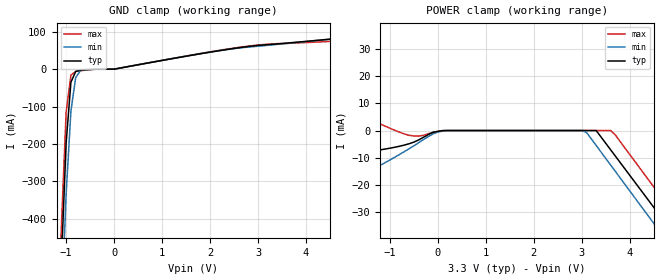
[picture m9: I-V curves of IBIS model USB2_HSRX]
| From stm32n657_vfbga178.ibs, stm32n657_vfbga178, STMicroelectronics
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[Model] USB2_HSRX
Model_type   Input
Polarity   Non-Inverting
Enable   Active-High
C_comp   5.492pF   5.368pF   5.494pF
Vinh = 150.000mV
Vinl = -150.000mV
[Model Spec]
[Receiver Thresholds]
Vcross_low = 0
Vcross_high = 500mv
Vdiff_ac = 150mv
Vdiff_dc = 100mv
Tdiffslew_ac = 1200ps
[Temperature Range]   25.000   125.000   -40.000
[Voltage Range]   3.300V   3.070V   3.630V
[GND Clamp Reference]   0.00V   0.00V   0.00V
[POWER Clamp Reference]   3.300V   3.070V   3.630V
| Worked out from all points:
|   GND clamp passes 1 mA (typ) near -0.53 V on its own axis
|   POWER clamp passes 1 mA (typ) near -0.14 V on its own axis
[GND Clamp]
-3.3V     -10.95A    -10.55A    -11.25A
-1.2V     -915.3mA   -1.032A    -838.8mA
-1.1V     -519.2mA   -657.5mA   -425.7mA
-1V       -197.7mA   -335.1mA   -115.1mA
-900mV    -35.05mA   -112.2mA   -15.67mA
-800mV    -5.949mA   -22.12mA   -6.454mA
-700mV    -2.647mA   -3.891mA   -4.243mA
-600mV    -1.536mA   -1.033mA   -2.639mA
1.971fV   0A         0A         0A
2V        45.55mA    45.52mA    46.3mA
3V        63.49mA    61.26mA    64.65mA
6.6V      104.1mA    107.2mA    86.72mA
[Power Clamp]
-3.3V     3.177A     2.138A     4.841A
-2.7V     505.5mA    62.8mA     1.908A
-2.6V     183.2mA    -5.843mA   1.435A
-2.4V     -6.294mA   -21.52mA   553.3mA
-2.2V     -8.53mA    -21.55mA   47.5mA
-2.1V     -8.617mA   -20.87mA   13.18mA
-2V       -8.548mA   -20.07mA   10.13mA
-900mV    -6.137mA   -9.8mA     96.78uA
3V        -8.976nA   -129.5nA   -7.302nA
3.6V      -7.035mA   -12.61mA   -9.228nA
4.7V      -32.83mA   -38.77mA   -25.41mA
6.6V      -77.39mA   -83.96mA   -70.53mA
